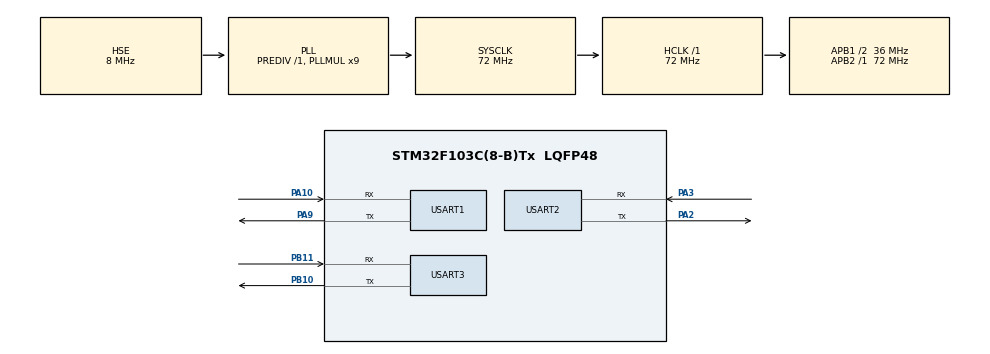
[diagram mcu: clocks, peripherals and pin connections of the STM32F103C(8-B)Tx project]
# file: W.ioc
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Dma.Request0=USART1_RX
Dma.Request1=USART1_TX
Dma.Request2=USART2_RX
Dma.Request3=USART2_TX
Dma.Request4=USART3_RX
Dma.Request5=USART3_TX
Dma.USART1_RX.0.Direction=DMA_PERIPH_TO_MEMORY
Dma.USART1_RX.0.Instance=DMA1_Channel5
Dma.USART1_RX.0.MemDataAlignment=DMA_MDATAALIGN_BYTE
Dma.USART1_RX.0.MemInc=DMA_MINC_ENABLE
Dma.USART1_RX.0.Mode=DMA_NORMAL
Dma.USART1_RX.0.PeriphDataAlignment=DMA_PDATAALIGN_BYTE
Dma.USART1_RX.0.PeriphInc=DMA_PINC_DISABLE
Dma.USART1_RX.0.Priority=DMA_PRIORITY_LOW
Dma.USART1_TX.1.Direction=DMA_MEMORY_TO_PERIPH
Dma.USART1_TX.1.Instance=DMA1_Channel4
Dma.USART1_TX.1.MemDataAlignment=DMA_MDATAALIGN_BYTE
Dma.USART1_TX.1.MemInc=DMA_MINC_ENABLE
Dma.USART1_TX.1.Mode=DMA_NORMAL
Dma.USART1_TX.1.PeriphDataAlignment=DMA_PDATAALIGN_BYTE
Dma.USART1_TX.1.PeriphInc=DMA_PINC_DISABLE
Dma.USART1_TX.1.Priority=DMA_PRIORITY_LOW
Dma.USART2_RX.2.Direction=DMA_PERIPH_TO_MEMORY
Dma.USART2_RX.2.Instance=DMA1_Channel6
Dma.USART2_RX.2.MemDataAlignment=DMA_MDATAALIGN_BYTE
Dma.USART2_RX.2.MemInc=DMA_MINC_ENABLE
Dma.USART2_RX.2.Mode=DMA_NORMAL
Dma.USART2_RX.2.PeriphDataAlignment=DMA_PDATAALIGN_BYTE
Dma.USART2_RX.2.PeriphInc=DMA_PINC_DISABLE
Dma.USART2_RX.2.Priority=DMA_PRIORITY_LOW
Dma.USART2_TX.3.Direction=DMA_MEMORY_TO_PERIPH
Dma.USART2_TX.3.Instance=DMA1_Channel7
Dma.USART2_TX.3.MemDataAlignment=DMA_MDATAALIGN_BYTE
Dma.USART2_TX.3.MemInc=DMA_MINC_ENABLE
Dma.USART2_TX.3.Mode=DMA_NORMAL
Dma.USART2_TX.3.PeriphDataAlignment=DMA_PDATAALIGN_BYTE
Dma.USART2_TX.3.PeriphInc=DMA_PINC_DISABLE
Dma.USART2_TX.3.Priority=DMA_PRIORITY_LOW
Dma.USART3_RX.4.Direction=DMA_PERIPH_TO_MEMORY
Dma.USART3_RX.4.Instance=DMA1_Channel3
Dma.USART3_RX.4.MemDataAlignment=DMA_MDATAALIGN_BYTE
Dma.USART3_RX.4.MemInc=DMA_MINC_ENABLE
Dma.USART3_RX.4.Mode=DMA_NORMAL
Dma.USART3_RX.4.PeriphDataAlignment=DMA_PDATAALIGN_BYTE
Dma.USART3_RX.4.PeriphInc=DMA_PINC_DISABLE
Dma.USART3_RX.4.Priority=DMA_PRIORITY_LOW
Dma.USART3_TX.5.Direction=DMA_MEMORY_TO_PERIPH
Dma.USART3_TX.5.Instance=DMA1_Channel2
Dma.USART3_TX.5.MemDataAlignment=DMA_MDATAALIGN_BYTE
Dma.USART3_TX.5.MemInc=DMA_MINC_ENABLE
Dma.USART3_TX.5.Mode=DMA_NORMAL
Dma.USART3_TX.5.PeriphDataAlignment=DMA_PDATAALIGN_BYTE
Dma.USART3_TX.5.PeriphInc=DMA_PINC_DISABLE
Dma.USART3_TX.5.Priority=DMA_PRIORITY_LOW
Mcu.Family=STM32F1
Mcu.Name=STM32F103C(8-B)Tx
Mcu.Package=LQFP48
NVIC.DMA1_Channel2_IRQn=true\:0\:0\:false\:false\:true\:false\:true
NVIC.DMA1_Channel3_IRQn=true\:0\:0\:false\:false\:true\:false\:true
NVIC.DMA1_Channel4_IRQn=true\:0\:0\:false\:false\:true\:false\:true
NVIC.DMA1_Channel5_IRQn=true\:0\:0\:false\:false\:true\:false\:true
NVIC.DMA1_Channel6_IRQn=true\:0\:0\:false\:false\:true\:false\:true
NVIC.DMA1_Channel7_IRQn=true\:0\:0\:false\:false\:true\:false\:true
NVIC.PriorityGroup=NVIC_PRIORITYGROUP_4
NVIC.TIM2_IRQn=true\:0\:0\:false\:false\:true\:true\:true
NVIC.USART1_IRQn=true\:0\:0\:false\:false\:true\:true\:true
NVIC.USART2_IRQn=true\:0\:0\:false\:false\:true\:true\:true
NVIC.USART3_IRQn=true\:0\:0\:false\:false\:true\:true\:true
PA10.Mode=Asynchronous
PA10.Signal=USART1_RX
PA13.Mode=Serial_Wire
PA13.Signal=SYS_JTMS-SWDIO
PA14.Mode=Serial_Wire
PA14.Signal=SYS_JTCK-SWCLK
PA2.Mode=Asynchronous
PA2.Signal=USART2_TX
PA3.Mode=Asynchronous
PA3.Signal=USART2_RX
PA9.Mode=Asynchronous
PA9.Signal=USART1_TX
PB10.Mode=Asynchronous
PB10.Signal=USART3_TX
PB11.Mode=Asynchronous
PB11.Signal=USART3_RX
PD0-OSC_IN.Mode=HSE-External-Oscillator
PD0-OSC_IN.Signal=RCC_OSC_IN
PD1-OSC_OUT.Mode=HSE-External-Oscillator
PD1-OSC_OUT.Signal=RCC_OSC_OUT
ProjectManager.HeapSize=0x200
ProjectManager.StackSize=0x400
ProjectManager.TargetToolchain=MDK-ARM V5.27
RCC.AHBFreq_Value=72000000
RCC.APB1CLKDivider=RCC_HCLK_DIV2
RCC.APB1Freq_Value=36000000
RCC.APB1TimFreq_Value=72000000
RCC.APB2Freq_Value=72000000
RCC.APB2TimFreq_Value=72000000
RCC.HCLKFreq_Value=72000000
RCC.PLLMUL=RCC_PLL_MUL9
RCC.PLLSourceVirtual=RCC_PLLSOURCE_HSE
RCC.SYSCLKFreq_VALUE=72000000
RCC.SYSCLKSource=RCC_SYSCLKSOURCE_PLLCLK
RCC.USBFreq_Value=72000000
TIM2.Period=1000
TIM2.Prescaler=72-1
USART1.VirtualMode=VM_ASYNC
USART2.VirtualMode=VM_ASYNC
USART3.VirtualMode=VM_ASYNC
VP_TIM2_VS_ClockSourceINT.Mode=Internal
board=custom

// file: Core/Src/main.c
/* USER CODE BEGIN Header */
/**
  ******************************************************************************
  * @file           : main.c
  * @brief          : Main program body
  ******************************************************************************
  * @attention
  *
  * <h2><center>&copy; Copyright (c) 2024 STMicroelectronics.
  * All rights reserved.</center></h2>
  *
  * This software component is licensed by ST under BSD 3-Clause license,
  * the "License"; You may not use this file except in compliance with the
  * License. You may obtain a copy of the License at:
  *                        opensource.org/licenses/BSD-3-Clause
  *
  ******************************************************************************
  */
/* USER CODE END Header */
#include "main.h"
#include "dma.h"
#include "tim.h"
#include "usart.h"
#include "gpio.h"

/* USER CODE BEGIN Includes */
#include "usart.h"
#include <string.h>
#include <stdlib.h>
#include <stdio.h>
/* USER CODE END Includes */

/* USER CODE BEGIN PV */
uint8_t jingdudis[23];//定位显示缓存
uint8_t wedudis[19];
float jingdu;//经纬度实时位置
float weidu;
uint8_t directional_sign;//方向标志
char* temp[16];
uint8_t ucmd[30];//指令缓存
/* USER CODE END PV */

void SystemClock_Config(void);

/* USER CODE BEGIN PFP */
int split(char *src,const char *separator,char **dest,int DestLen);
void WiFi_Init(void);
void WiFi_Proc(float j,float w,uint8_t sign);
/* USER CODE END PFP */

int main(void)
{

  /* MCU Configuration--------------------------------------------------------*/

  /* Reset of all peripherals, Initializes the Flash interface and the Systick. */
  HAL_Init();

  /* Configure the system clock */
  SystemClock_Config();

  /* Initialize all configured peripherals */
  MX_GPIO_Init();
  MX_DMA_Init();
  MX_TIM2_Init();
  MX_USART1_UART_Init();
  MX_USART2_UART_Init();
  MX_USART3_UART_Init();
  /* USER CODE BEGIN 2 */
	//接收中断
		__HAL_UART_ENABLE_IT(&huart1, UART_IT_IDLE);
	HAL_UART_Receive_DMA(&huart1,uart1_data.CommRxBuff,uart1_RX_BUFF_SIZE);

		__HAL_UART_ENABLE_IT(&huart2, UART_IT_IDLE);
	HAL_UART_Receive_DMA(&huart2,uart2_data.CommRxBuff,uart2_RX_BUFF_SIZE);

	__HAL_UART_ENABLE_IT(&huart3, UART_IT_IDLE);
	HAL_UART_Receive_DMA(&huart3,uart3_data.CommRxBuff,uart3_RX_BUFF_SIZE);

	WiFi_Init();
	HAL_TIM_Base_Start_IT(&htim2);
  /* USER CODE END 2 */

  /* Infinite loop */
  /* USER CODE BEGIN WHILE */
  while (1)
  {
		if(uart1_data.end_flag == 1)//openmv消息
		{
			uart1_data.end_flag = 0;
			if(uart1_data.rx_len >= 3)//正常消息
			{
				if(uart1_data.CommRxBuff[0] == 0xAA && uart1_data.CommRxBuff[2] == 0x55)
				{
					if(uart1_data.CommRxBuff[1] == 0x01)
					{
						directional_sign = 1;
					}
					else if(uart1_data.CommRxBuff[1] == 0x02)
					{
						directional_sign = 2;
					}
					else if(uart1_data.CommRxBuff[1] == 0x00)
					{
						directional_sign = 0;
					}
				}
				else//非法消息
				{
						uart1_data.rx_len = 0;
						memset(uart1_data.CommRxBuff, 0, uart1_RX_BUFF_SIZE);	//清空缓存区
				}
				uart1_data.rx_len = 0;
				memset(uart1_data.CommRxBuff, 0, uart1_RX_BUFF_SIZE);	//清空缓存区
			}
			else//非法
			{
					uart1_data.rx_len = 0;
					memset(uart1_data.CommRxBuff, 0, uart1_RX_BUFF_SIZE);	//清空缓存区
			}
		}
		if(uart2_data.end_flag == 1)//定位消息
		{
			uart2_data.end_flag = 0;
			if(strlen((char*)uart2_data.CommRxBuff) > 45)//正常定位
			{
				if(split((char*)uart2_data.CommRxBuff,",",temp,15)==12)
				{
					weidu = atof(temp[3])/100;
					jingdu = atof(temp[5])/100;
				}
					memset(temp, 0, 15);	//清空缓存区
					uart2_data.rx_len = 0;
					memset(uart2_data.CommRxBuff, 0, uart2_RX_BUFF_SIZE);	//清空缓存区
			}
			else//没有定位到
			{
					uart2_data.rx_len = 0;
					memset(uart2_data.CommRxBuff, 0, uart2_RX_BUFF_SIZE);	//清空缓存区
			}
		}
    /* USER CODE END WHILE */

    /* USER CODE BEGIN 3 */
		if(flag_500ms == 1)
		{
			flag_500ms = 0;//解析发送一次
			WiFi_Proc(jingdu,weidu,directional_sign);//发数据给8266
		}
  }
  /* USER CODE END 3 */
}

void SystemClock_Config(void)
{
  RCC_OscInitTypeDef RCC_OscInitStruct = {0};
  RCC_ClkInitTypeDef RCC_ClkInitStruct = {0};

  /** Initializes the RCC Oscillators according to the specified parameters
  * in the RCC_OscInitTypeDef structure.
  */
  RCC_OscInitStruct.OscillatorType = RCC_OSCILLATORTYPE_HSE;
  RCC_OscInitStruct.HSEState = RCC_HSE_ON;
  RCC_OscInitStruct.HSEPredivValue = RCC_HSE_PREDIV_DIV1;
  RCC_OscInitStruct.HSIState = RCC_HSI_ON;
  RCC_OscInitStruct.PLL.PLLState = RCC_PLL_ON;
  RCC_OscInitStruct.PLL.PLLSource = RCC_PLLSOURCE_HSE;
  RCC_OscInitStruct.PLL.PLLMUL = RCC_PLL_MUL9;
  if (HAL_RCC_OscConfig(&RCC_OscInitStruct) != HAL_OK)
  {
    Error_Handler();
  }
  /** Initializes the CPU, AHB and APB buses clocks
  */
  RCC_ClkInitStruct.ClockType = RCC_CLOCKTYPE_HCLK|RCC_CLOCKTYPE_SYSCLK
                              |RCC_CLOCKTYPE_PCLK1|RCC_CLOCKTYPE_PCLK2;
  RCC_ClkInitStruct.SYSCLKSource = RCC_SYSCLKSOURCE_PLLCLK;
  RCC_ClkInitStruct.AHBCLKDivider = RCC_SYSCLK_DIV1;
  RCC_ClkInitStruct.APB1CLKDivider = RCC_HCLK_DIV2;
  RCC_ClkInitStruct.APB2CLKDivider = RCC_HCLK_DIV1;

  if (HAL_RCC_ClockConfig(&RCC_ClkInitStruct, FLASH_LATENCY_2) != HAL_OK)
  {
    Error_Handler();
  }
}

/* USER CODE BEGIN 4 */

/**
* @brief  分割字符串
* @param  src        源字符串
* @param  separator  分割
* @param  dest       接收子串的数组
* @param  DestLen    预期子字符串的最大个数
* @retval 实际子字符串的个数
* @example split("42,uioj,dk4,56",",",temp,4);  temp[0]=42,...temp[3]=56
**/
int split(char *src,const char *separator,char **dest,int DestLen)
{
	char *pNext;
	int count = 0;
	if (src == NULL || strlen(src) == 0)
		return 0;
	if (separator == NULL || strlen(separator) == 0)
		return 0;
	pNext = (char *)strtok(src,separator);
	while(pNext != NULL)
	{
		if(dest != NULL)
		*dest++ = pNext;
		++count;
		pNext = (char *)strtok(NULL,separator);
		if(count>=DestLen){
		  break;
		}
	}
//	*num = count;
	return count;
}

//WiFi 初始化
void WiFi_Init(void)
{
	HAL_Delay(10);

	memset(uart3_data.CommRxBuff,0,uart3_RX_BUFF_SIZE);         //清缓存

	uart3_data.end_flag = 0;
	uart3_data.rx_len = 0;

	HAL_UART_Transmit_DMA(&huart3,(unsigned char *)"AT\r\n",4);
	HAL_Delay(200);
	HAL_UART_Transmit_DMA(&huart3,(unsigned char *)"AT+CWMODE=3\r\n", 13);
	HAL_Delay(200);
	HAL_UART_Transmit_DMA(&huart3,(unsigned char *)"AT+CIPMUX=1\r\n", 13);
	HAL_Delay(200);
	HAL_UART_Transmit_DMA(&huart3,(unsigned char *)"AT+CIPSERVER=1,8080\r\n", 21);
	HAL_Delay(200);
	HAL_UART_Transmit_DMA(&huart3,(unsigned char *)"AT+CWSAP_CUR=\"Smarthome1\",\"12345678\",5,3\r\n", 42);
	HAL_Delay(200);

	memset(uart3_data.CommRxBuff,0,uart3_RX_BUFF_SIZE);         //清缓存

	uart3_data.end_flag = 0;
	uart3_data.rx_len = 0;

}
/*
[23:56:25.326]收←◆$GNRMC,155625.000,A,1141.91877,N,11111.66953,E,0.02,0.00,270424,,,A,V*07
*/
void WiFi_Proc(float j,float w,uint8_t sign)//WIFI发送命令 经度 纬度 方向
{
	memset(ucmd,0,30);         //清缓存
	memset(uart3_data.CommRxBuff,0,uart3_RX_BUFF_SIZE);         //清缓存

	sprintf((char*)uart3_data.CommTxBuff ,"%3.7f,%2.7f,%d",j,w,sign);
	sprintf((char*)ucmd,"AT+CIPSEND=0,%d\r\n",strlen((char*)uart3_data.CommTxBuff));//指令
	HAL_UART_Transmit_DMA(&huart3,(unsigned char *)ucmd, strlen((char*)ucmd));//发指令
	HAL_Delay(200);

	HAL_UART_Transmit_DMA(&huart3,uart3_data.CommTxBuff, strlen((char*)uart3_data.CommTxBuff));//发数据
	HAL_Delay(100);

}
/* USER CODE END 4 */

void Error_Handler(void)
{
  __disable_irq();
  while (1)
  {
  }
}

/************************ (C) COPYRIGHT STMicroelectronics *****END OF FILE****/
